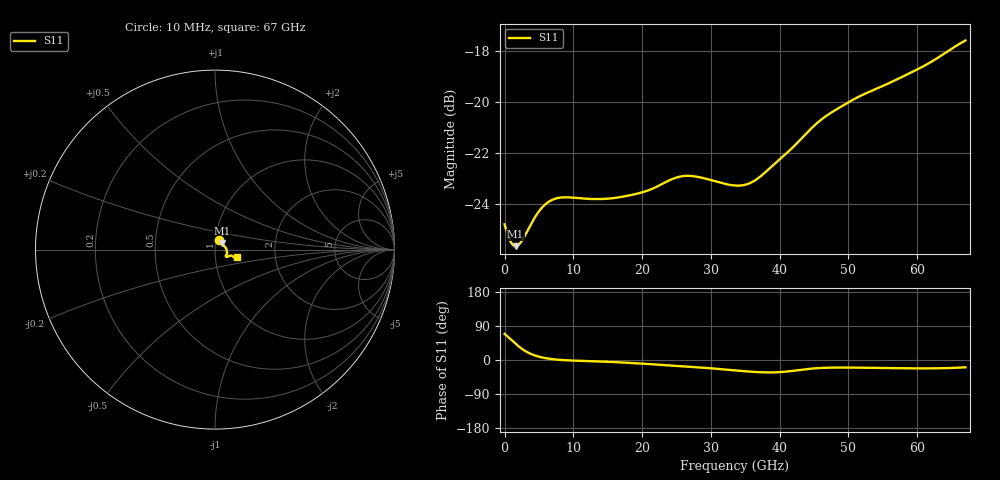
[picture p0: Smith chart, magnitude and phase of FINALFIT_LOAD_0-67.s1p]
! Generated by Phase I extraction
# Hz S RI R 50
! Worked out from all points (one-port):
!   1601 points, 10 MHz to 67 GHz, reference 50 ohm
!   lowest |S11| = -25.7 dB at 1.601 GHz (marker M1), VSWR 1.11, Z = 53.8 + j3.83 ohm
!   |S11| at or under -10 dB: start of sweep to end of sweep
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1e7  0.0207 0.0536
8.892438e8  0.0307 0.0434
1.224194e9  0.0343 0.0396
1.601012e9  0.0381 0.0355
2.0197e9  0.0421 0.0311
2.480256e9  0.0461 0.0267
4.448088e9  0.0582 0.0121
5.578544e9  0.0619 0.00675
6.876475e9  0.0641 0.00271
8.38375e9  0.0649 -6.61e-05
1.349174e10  0.0643 -0.00418
1.67575e10  0.0646 -0.00704
2.069316e10  0.0658 -0.0121
2.513125e10  0.0684 -0.0195
2.634544e10  0.0683 -0.0213
2.768524e10  0.0676 -0.0231
3.3505e10  0.0608 -0.0317
3.505414e10  0.0596 -0.0343
3.651955e10  0.0598 -0.0369
3.945036e10  0.0641 -0.0408
4.187875e10  0.0714 -0.039
4.455835e10  0.0817 -0.0343
4.594002e10  0.086 -0.0331
4.748916e10  0.0895 -0.0328
5.02525e10  0.0943 -0.0343
5.862625e10  0.1052 -0.0424
6.180828e10  0.1106 -0.0449
6.7e10  0.1247 -0.0435
